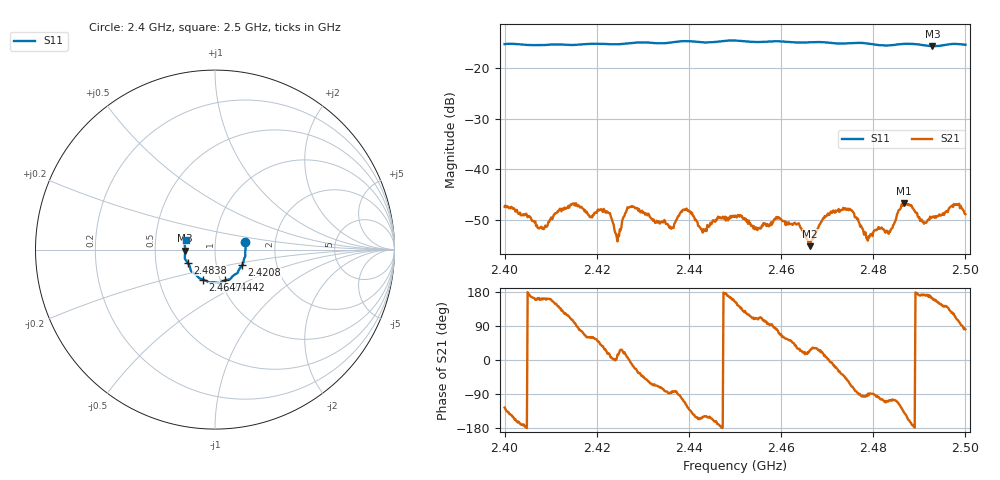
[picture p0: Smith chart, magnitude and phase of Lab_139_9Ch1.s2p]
# Hz S RI R 50
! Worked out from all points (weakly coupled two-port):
!   601 points, 2.4 GHz to 2.5 GHz, reference 50 ohm
!   highest |S21| = -46.66 dB at 2.4867 GHz (marker M1); lowest = -55.2 dB at 2.4663 GHz (marker M2)
!   lowest |S11| = -15.6 dB at 2.4928 GHz (marker M3), VSWR 1.40, Z = 35.8 - j0.371 ohm
!   |S11| at or under -10 dB: start of sweep to end of sweep
!   S12 and S22 are empty: the file has one direction only
!   S11 on the Smith chart (normalised r, x): 2.4 GHz: 1.40, +0.12; 2.4208 GHz: 1.33, -0.24; 2.4442 GHz: 1.05, -0.37; 2.4647 GHz: 0.83, -0.29; 2.4838 GHz: 0.73, -0.11; 2.5 GHz: 0.72, +0.08
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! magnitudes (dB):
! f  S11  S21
! 2.4 GHz  -15.2  -47.4
! 2.408 GHz  -15.4  -51.4
! 2.4167 GHz  -15.3  -47.4
! 2.4208 GHz  -15.2  -47.9
! 2.4243 GHz  -15.2  -53.5
! 2.4272 GHz  -15.0  -47.5
! 2.4333 GHz  -15.0  -50.3
! 2.4362 GHz  -14.9  -51.8
! 2.4393 GHz  -14.6  -48.1
! 2.4442 GHz  -14.9  -51.3
! 2.45 GHz  -14.5  -49.2
! 2.4647 GHz  -14.9  -52.0
! 2.4663 GHz  -14.8  -55.2
! 2.4667 GHz  -14.8  -54.0
! 2.4697 GHz  -14.9  -49.3
! 2.4738 GHz  -15.1  -47.8
! 2.4785 GHz  -15.1  -53.5
! 2.4833 GHz  -15.5  -52.8
! 2.4838 GHz  -15.4  -51.9
! 2.4867 GHz  -15.2  -46.7
! 2.4928 GHz  -15.6  -49.5
! 2.5 GHz  -15.3  -48.9
